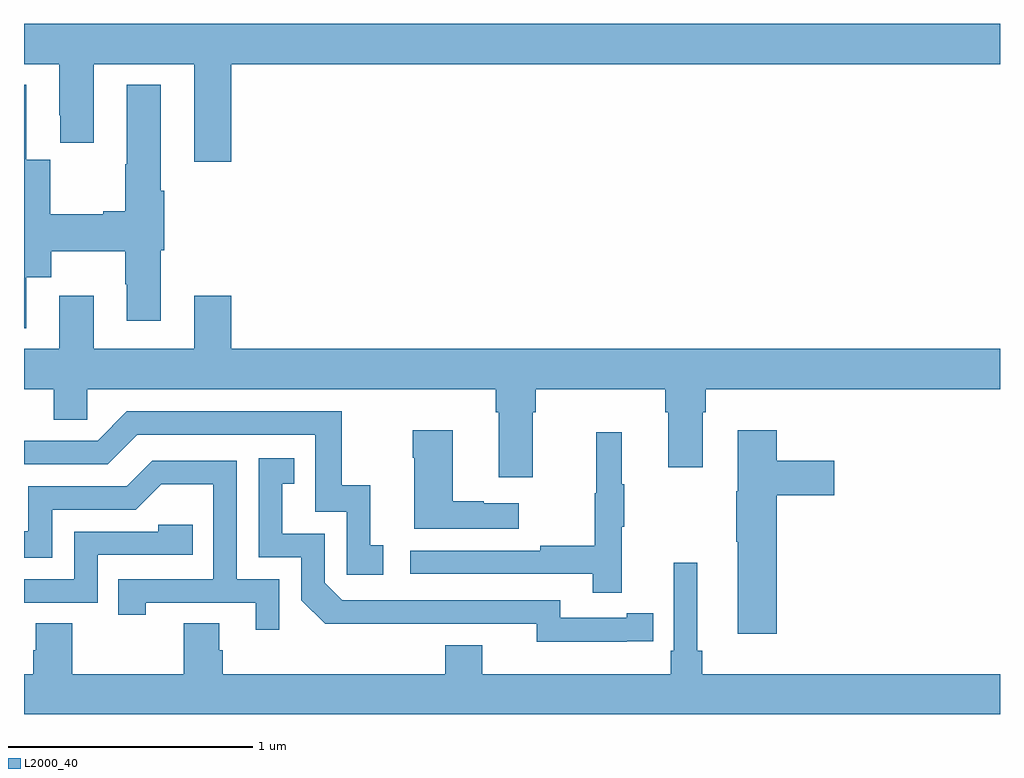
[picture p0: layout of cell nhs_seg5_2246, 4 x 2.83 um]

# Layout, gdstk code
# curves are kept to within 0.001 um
import gdstk
lib = gdstk.Library(unit=1e-6, precision=1e-09)
def P(c, l, *ps):  # polygons
    for p in ps: c.add(gdstk.Polygon(p, *l))
L2000_40 = (2000, 40)

nhs_seg5_2246 = lib.new_cell('nhs_seg5_2246')
P(nhs_seg5_2246, L2000_40, [(241.85,890.06),(245,890.06),(245,890.224),(241,890.224),(241,890.06),(241.145,890.06),(241.145,889.849),(241.148,889.849),(241.148,889.737),(241.285,889.737),(241.285,890.06),(241.697,890.06),(241.697,889.659),(241.85,889.659)],
  [(241.009,889.186),(241.111,889.186),(241.111,889.292),(241.414,889.292),(241.414,889.158),(241.421,889.158),(241.421,889.008),(241.561,889.008),(241.561,889.296),(241.574,889.296),(241.574,889.54),(241.561,889.54),(241.561,889.975),(241.421,889.975),(241.421,889.649),(241.414,889.649),(241.414,889.457),(241.325,889.457),(241.325,889.444),(241.107,889.444),(241.107,889.667),(241.009,889.667),(241.009,889.975),(241,889.975),(241,889.563),(241.002,889.563),(241.002,889.287),(241,889.287),(241,888.978),(241.009,888.978)],
  [(243.085,888.632),(243.098,888.632),(243.098,888.728),(243.629,888.728),(243.629,888.632),(243.641,888.632),(243.641,888.408),(243.781,888.408),(243.781,888.632),(243.794,888.632),(243.794,888.728),(245,888.728),(245,888.892),(241.85,888.892),(241.85,889.111),(241.697,889.111),(241.697,888.892),(241.285,888.892),(241.285,889.111),(241.145,889.111),(241.145,888.892),(241,888.892),(241,888.728),(241.121,888.728),(241.121,888.601),(241.26,888.601),(241.26,888.728),(242.933,888.728),(242.933,888.632),(242.945,888.632),(242.945,888.366),(243.085,888.366)],
  [(242.473,888.087),(242.42,888.087),(242.42,888.334),(242.302,888.334),(242.302,888.636),(241.422,888.636),(241.302,888.516),(241,888.516),(241,888.42),(241.344,888.42),(241.464,888.54),(242.193,888.54),(242.193,888.225),(242.322,888.225),(242.322,887.967),(242.473,887.967)],
  [(244.085,888.293),(244.321,888.293),(244.321,888.435),(244.085,888.435),(244.085,888.559),(243.926,888.559),(243.926,888.309),(243.919,888.309),(243.919,888.103),(243.926,888.103),(243.926,887.724),(244.085,887.724)],
  [(243.028,888.259),(242.885,888.259),(242.885,888.269),(242.758,888.269),(242.758,888.559),(242.593,888.559),(242.593,888.446),(242.6,888.446),(242.6,888.155),(243.028,888.155)],
  [(243.449,888.163),(243.46,888.163),(243.46,888.337),(243.449,888.337),(243.449,888.55),(243.346,888.55),(243.346,888.3),(243.339,888.3),(243.339,888.086),(243.115,888.086),(243.115,888.066),(242.583,888.066),(242.583,887.97),(243.331,887.97),(243.331,887.892),(243.449,887.892)],
  [(243.47,887.694),(243.578,887.694),(243.578,887.81),(243.47,887.81),(243.47,887.79),(243.198,887.79),(243.198,887.862),(242.304,887.862),(242.232,887.934),(242.232,888.135),(242.059,888.135),(242.059,888.339),(242.108,888.339),(242.108,888.445),(241.962,888.445),(241.962,888.039),(242.136,888.039),(242.136,887.862),(242.234,887.765),(243.102,887.766),(243.102,887.693)],
  [(242.046,887.949),(241.872,887.949),(241.872,888.435),(241.526,888.435),(241.421,888.33),(241.018,888.33),(241.018,888.145),(241,888.145),(241,888.036),(241.116,888.036),(241.116,888.234),(241.458,888.234),(241.562,888.338),(241.776,888.338),(241.776,887.949),(241.387,887.949),(241.387,887.802),(241.498,887.802),(241.498,887.853),(241.949,887.853),(241.949,887.742),(242.046,887.742)],
  [(241.302,888.048),(241.691,888.048),(241.691,888.171),(241.551,888.171),(241.551,888.144),(241.206,888.144),(241.206,887.949),(241,887.949),(241,887.853),(241.302,887.853)],
  [(245,887.56),(243.779,887.56),(243.779,887.656),(243.76,887.656),(243.76,888.016),(243.663,888.016),(243.663,887.656),(243.65,887.656),(243.65,887.56),(242.878,887.56),(242.878,887.677),(242.726,887.677),(242.726,887.56),(241.814,887.56),(241.814,887.658),(241.801,887.658),(241.801,887.768),(241.654,887.768),(241.654,887.56),(241.197,887.56),(241.197,887.768),(241.049,887.768),(241.049,887.658),(241.037,887.658),(241.037,887.56),(241,887.56),(241,887.396),(245,887.396)])

lib.write_gds('nhs_seg5_2246.gds')
